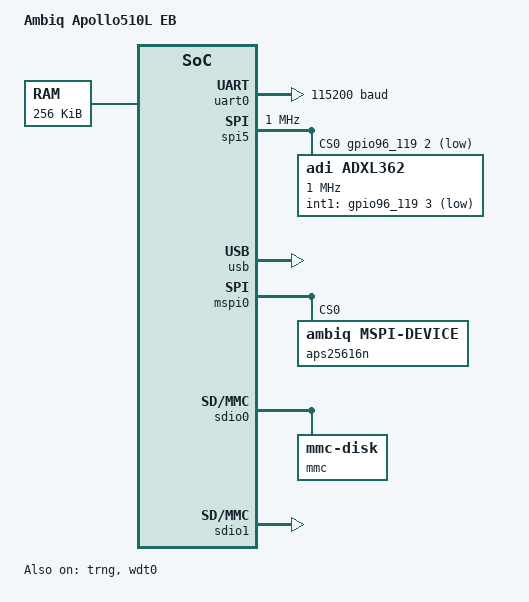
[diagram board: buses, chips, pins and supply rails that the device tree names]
/* Copyright (c) 2025 Ambiq Micro Inc. <www.ambiq.com> */

/dts-v1/;
#include <ambiq/ambiq_apollo510L.dtsi>

#include "apollo510L_eb-pinctrl.dtsi"

/ {
	model = "Ambiq Apollo510L EB";
	compatible = "ambiq,apollo510L_eb";

	chosen {
		zephyr,dtcm = &dtcm;
		zephyr,sram = &sram0;
		zephyr,flash = &flash0;
		zephyr,flash-controller = &flash;
		zephyr,code-partition = &slot0_partition;
		zephyr,console = &uart0;
		zephyr,uart-mcumgr = &uart0;
		zephyr,shell-uart = &uart0;
		zephyr,uart-pipe = &uart0;
		zephyr,entropy = &trng;
		zephyr,bt-hci-ipc = &ipc0;
		zephyr,bt-hci = &bt_hci_ipc0;
		ambiq,xo48m = &xo48m_xtal;
		ambiq,xo32k = &xo32k_xtal;
		ambiq,extrefclk = &extrefclk;
	};

	aliases {
		watchdog0 = &wdt0;
		sdhc0 = &sdio0;
		sdhc1 = &sdio1;
		accel0 = &adxl362;
	};

	sram0: memory@SSRAM_BASE_NAME {
		compatible = "mmio-sram";
		reg = <SSRAM_BASE_ADDR 0x180000>;
	};

	sram_no_cache: memory@20200000 {
		compatible = "zephyr,memory-region", "mmio-sram";
		reg = <0x20200000 0x40000>;
		zephyr,memory-region = "SRAM_NO_CACHE";
		zephyr,memory-attr = <( DT_MEM_ARM(ATTR_MPU_RAM_NOCACHE) )>;

		#address-cells = <1>;
		#size-cells = <1>;
		ranges;

		/* SRAM allocated for IPC shared memory region. */
		sram_ipc: memory@2023d000 {
			reg = <0x2023d000 0x3000>;
		};
	};
};

&trng {
	status = "okay";
};

&xo48m_xtal {
	clock-frequency = <DT_FREQ_M(48)>;
};

&xo48m_ext {
	clock-frequency = <0>;
};

&xo32k_xtal {
	clock-frequency = <32768>;
};

&xo32k_ext {
	clock-frequency = <0>;
};

&extrefclk {
	clock-frequency = <0>;
};

&itm {
	pinctrl-0 = <&swo_default>;
	pinctrl-names = "default";
};

&adc0 {
	pinctrl-0 = <&adc0_default>;
	pinctrl-names = "default";
	status = "disabled";
};

&timer0 {
	counter0: counter {
		status = "disabled";
	};
};

&timer2 {
	pwm2: pwm {
		pinctrl-0 = <&pwm2_default>;
		pinctrl-names = "default";
		status = "disabled";
	};
};

&rtc0 {
	status = "disabled";
	clock = "XTAL";
};

&uart0 {
	current-speed = <115200>;
	pinctrl-0 = <&uart0_default>;
	pinctrl-1 = <&uart0_sleep>;
	pinctrl-names = "default", "sleep";
	status = "okay";
};

&iom5 {
	spi5: spi {
		pinctrl-0 = <&spi5_default>;
		pinctrl-1 = <&spi5_sleep>;
		pinctrl-names = "default", "sleep";
		cs-gpios = <&gpio96_119 2 GPIO_ACTIVE_LOW>;
		clock-frequency = <DT_FREQ_M(1)>;
		status = "okay";

		adxl362: adxl362@0 {
			compatible = "adi,adxl362";
			reg = <0>;
			spi-max-frequency = <DT_FREQ_M(1)>;
			int1-gpios = <&gpio96_119 3 GPIO_ACTIVE_LOW>;
		};
	};
};

&stimer0 {
	clk-source = <3>;
};

&wdt0 {
	status = "okay";
};

zephyr_udc0: &usb {
	vddusb33-gpios = <&gpio64_95 27 (GPIO_PULL_UP)>;
	status = "okay";
};

&mspi0 {
	pinctrl-0 = <&mspi0_default>;
	pinctrl-1 = <&mspi0_sleep>;
	pinctrl-2 = <&mspi0_psram>;
	pinctrl-names = "default","sleep","psram";
	status = "okay";
	zephyr,pm-device-runtime-auto;

	ce-gpios = <&gpio64_95 14 GPIO_ACTIVE_LOW>;

	cmdq-buffer-location = "SRAM_NO_CACHE";
	cmdq-buffer-size = <256>;

	ambiq,apmemory;

	dqs-support;

	aps25616n: aps_z8@0 {
		compatible = "ambiq,mspi-device", "mspi-aps-z8";
		size = <DT_SIZE_M(256)>;
		reg = <0>;
		status = "okay";
		mspi-max-frequency = <125000000>;
		mspi-io-mode = "MSPI_IO_MODE_HEX_8_8_16";
		mspi-data-rate = "MSPI_DATA_RATE_S_D_D";
		mspi-hardware-ce-num = <0>;
		mspi-dqs-enable;
		read-command = <0x20>;
		write-command = <0xA0>;
		command-length = "INSTR_1_BYTE";
		address-length = "ADDR_4_BYTE";
		rx-dummy = <5>;
		tx-dummy = <5>;
		xip-config = <1 0 DT_SIZE_M(32) 0>;
		ce-break-config = <1024 4>;
		ambiq,timing-config-mask = <0x62>;
		ambiq,timing-config = <5 5 1 0 0 3 8>;
		zephyr,pm-device-runtime-auto;
	};
};

&mspi2 {
	pinctrl-0 = <&mspi2_default_x8>;
	pinctrl-1 = <&mspi2_sleep_x8>;
	pinctrl-2 = <&mspi2_flash_x8>;
	pinctrl-names = "default","sleep_x8","flash_x8";
	status = "disabled"; /* Need board rework */
	zephyr,pm-device-runtime-auto;

	ce-gpios = <&gpio96_119 14 GPIO_ACTIVE_LOW>;

	cmdq-buffer-location = "SRAM_NO_CACHE";
	cmdq-buffer-size = <256>;

	dqs-support;

	is25wx064: is25wx064@0 {
		compatible = "ambiq,mspi-device", "mspi-is25xX0xx";
		size = <DT_SIZE_M(64)>;
		reg = <0>;
		status = "disabled";
		mspi-max-frequency = <96000000>;
		mspi-io-mode = "MSPI_IO_MODE_OCTAL_1_8_8";
		mspi-data-rate = "MSPI_DATA_RATE_SINGLE";
		mspi-dqs-enable;
		mspi-hardware-ce-num = <0>;
		read-command = <0xCC>;
		write-command = <0x8E>;
		command-length = "INSTR_1_BYTE";
		address-length = "ADDR_4_BYTE"; /* Avoid use of 3 byte address if Ambiq MSPI */
		rx-dummy = <16>;
		tx-dummy = <0>;
		xip-config = <1 0 DT_SIZE_M(8) 0>;
		ce-break-config = <0 0>;
		ambiq,timing-config-mask = <0x62>;
		ambiq,timing-config = <0 16 1 0 0 5 20>;
	};
};

&gpio0_31 {
	status = "okay";
};

&gpio32_63 {
	status = "okay";
};

&gpio64_95 {
	status = "okay";
};

&gpio96_119 {
	status = "okay";
};

&ipc0 {
	memory-region = <&sram_ipc>;
	status = "okay";

	bt_hci_ipc0: bt_hci_ipc0 {
		compatible = "zephyr,bt-hci-ipc";
		bt-hci-ipc-name = "am_ipc";
		status = "okay";
	};
};

&mbox {
	status = "okay";
};

&flash0 {
	// By default, the flash write block size is 16 bytes, But if the cache is enabled,
	// the write block size needs to be 32 bytes to match the cache line size.
	write-block-size = <32>;

	partitions {
		compatible = "fixed-partitions";
		#address-cells = <1>;
		#size-cells = <1>;

		boot_partition: partition@0 {
			label = "mcuboot";
			reg = <0x00000000 DT_SIZE_K(256)>;
		};

		slot0_partition: partition@40000 {
			label = "image-0";
			reg = <0x40000 DT_SIZE_K(512)>;
		};

		slot1_partition: partition@C0000 {
			label = "image-1";
			reg = <0xC0000 DT_SIZE_K(512)>;
		};

		scratch_partition: partition@140000 {
			label = "image-scratch";
			reg = <0x140000 DT_SIZE_K(32)>;
		};

		storage_partition: partition@148000 {
			label = "storage";
			reg = <0x148000 DT_SIZE_K(32)>;
		};
	};
};

&sdio0 {
	pinctrl-0 = <&sdio0_default>;
	pinctrl-names = "default";
	txdelay = <0>;
	rxdelay = <0>;
	status = "okay";
	mmc {
		compatible = "zephyr,mmc-disk";
		disk-name = "SD2";
		status = "okay";
	};
};

&sdio1 {
	pinctrl-0 = <&sdio1_default>;
	pinctrl-names = "default";
	txdelay = <9>;
	rxdelay = <11>;
	status = "okay";
};

&pdm0 {
	pinctrl-0 = <&pdm0_default>;
	pinctrl-names = "default";
	status = "disabled";
};

&i2s0 {
	pinctrl-0 = <&i2s0_default>;
	pinctrl-names = "default";
	status = "disabled";
};
